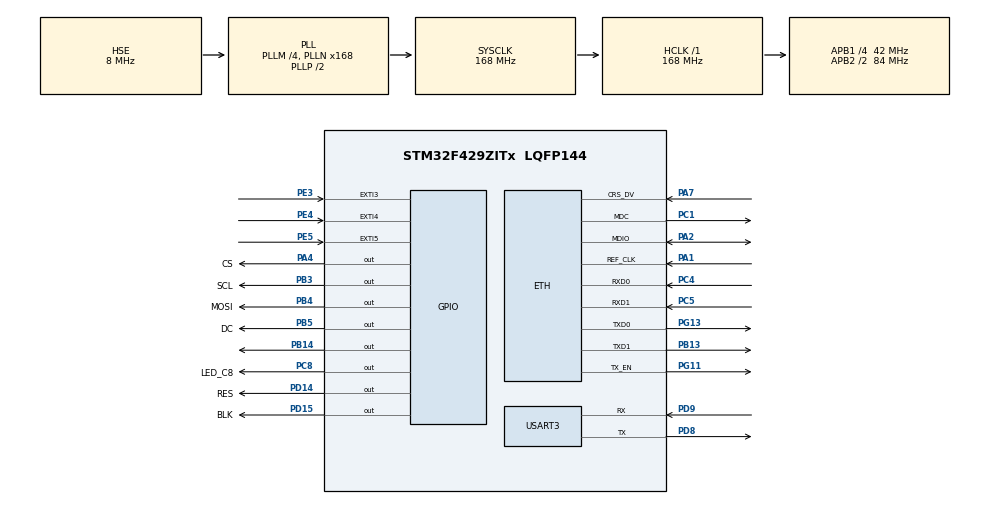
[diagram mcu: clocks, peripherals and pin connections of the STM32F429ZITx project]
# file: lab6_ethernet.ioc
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ETH.MACAddr=00\:80\:E1\:AB\:CD\:EF
ETH.MediaInterface=HAL_ETH_RMII_MODE
ETH.RxMode=ETH_RXINTERRUPT_MODE
FREERTOS.Tasks01=defaultTask,0,128,StartDefaultTask,Default,NULL,Dynamic,NULL,NULL
FREERTOS.configTOTAL_HEAP_SIZE=25360
FREERTOS.configUSE_NEWLIB_REENTRANT=0
FREERTOS.copyHeapFile=1
LWIP.BSP.number=1
LWIP.CMSIS_VERSION-Enabled=1
LWIP.GATEWAY_ADDRESS=000.000.000.000
LWIP.IP_ADDRESS=192.168.006.020
LWIP.LWIP_DHCP=0
LWIP.MEM_SIZE=10*1024
LWIP.NETMASK_ADDRESS=255.255.255.000
LWIP.Version=v2.1.2_Cube
LWIP0.BSP.STBoard=false
LWIP0.BSP.api=BSP_COMPONENT_DRIVER
LWIP0.BSP.component=LAN8742
LWIP0.BSP.instance=LAN8742
LWIP0.BSP.name=Driver_PHY
LWIP0.BSP.semaphore=S_LAN8742
LWIP0.BSP.solution=LAN8742
Mcu.Family=STM32F4
Mcu.Name=STM32F429ZITx
Mcu.Package=LQFP144
NVIC.ETH_IRQn=true\:5\:0\:false\:false\:true\:true\:false\:true\:true
NVIC.EXTI3_IRQn=true\:5\:0\:false\:false\:true\:true\:true\:true\:true
NVIC.EXTI4_IRQn=true\:5\:0\:false\:false\:true\:true\:true\:true\:true
NVIC.EXTI9_5_IRQn=true\:5\:0\:false\:false\:true\:true\:true\:true\:true
NVIC.PriorityGroup=NVIC_PRIORITYGROUP_4
NVIC.TIM1_UP_TIM10_IRQn=true\:15\:0\:false\:false\:true\:false\:false\:true\:true
NVIC.TimeBase=TIM1_UP_TIM10_IRQn
NVIC.TimeBaseIP=TIM1
PA1.Mode=RMII
PA1.Signal=ETH_REF_CLK
PA13.Mode=Serial_Wire
PA13.Signal=SYS_JTMS-SWDIO
PA14.Mode=Serial_Wire
PA14.Signal=SYS_JTCK-SWCLK
PA2.Mode=RMII
PA2.Signal=ETH_MDIO
PA4.GPIO_Label=CS
PA4.Signal=GPIO_Output
PA7.Mode=RMII
PA7.Signal=ETH_CRS_DV
PB13.Mode=RMII
PB13.Signal=ETH_TXD1
PB14.Signal=GPIO_Output
PB3.GPIO_Label=SCL
PB3.Signal=GPIO_Output
PB4.GPIO_Label=MOSI
PB4.Signal=GPIO_Output
PB5.GPIO_Label=DC
PB5.Signal=GPIO_Output
PC1.Mode=RMII
PC1.Signal=ETH_MDC
PC14/OSC32_IN.Mode=LSE-External-Oscillator
PC14/OSC32_IN.Signal=RCC_OSC32_IN
PC15/OSC32_OUT.Mode=LSE-External-Oscillator
PC15/OSC32_OUT.Signal=RCC_OSC32_OUT
PC4.Mode=RMII
PC4.Signal=ETH_RXD0
PC5.Mode=RMII
PC5.Signal=ETH_RXD1
PC8.GPIO_Label=LED_C8
PC8.Signal=GPIO_Output
PD14.GPIO_Label=RES
PD14.Signal=GPIO_Output
PD15.GPIO_Label=BLK
PD15.Signal=GPIO_Output
PD8.Mode=Asynchronous
PD8.Signal=USART3_TX
PD9.Mode=Asynchronous
PD9.Signal=USART3_RX
PE3.Signal=GPXTI3
PE4.Signal=GPXTI4
PE5.Signal=GPXTI5
PG11.Mode=RMII
PG11.Signal=ETH_TX_EN
PG13.Mode=RMII
PG13.Signal=ETH_TXD0
PH0/OSC_IN.Mode=HSE-External-Oscillator
PH0/OSC_IN.Signal=RCC_OSC_IN
PH1/OSC_OUT.Mode=HSE-External-Oscillator
PH1/OSC_OUT.Signal=RCC_OSC_OUT
ProjectManager.HeapSize=0x200
ProjectManager.StackSize=0x400
ProjectManager.TargetToolchain=MDK-ARM V5.32
RCC.48MHZClocksFreq_Value=48000000
RCC.AHBFreq_Value=168000000
RCC.APB1CLKDivider=RCC_HCLK_DIV4
RCC.APB1Freq_Value=42000000
RCC.APB1TimFreq_Value=84000000
RCC.APB2CLKDivider=RCC_HCLK_DIV2
RCC.APB2Freq_Value=84000000
RCC.APB2TimCLKDivider=2
RCC.APB2TimFreq_Value=168000000
RCC.CortexFreq_Value=168000000
RCC.HCLKFreq_Value=168000000
RCC.HSE_VALUE=8000000
RCC.HSI_VALUE=16000000
RCC.PLLM=4
RCC.PLLMUL=RCC_PLL_MUL9
RCC.PLLN=168
RCC.PLLQ=7
RCC.PLLSourceVirtual=RCC_PLLSOURCE_HSE
RCC.PRESCALERUSB=RCC_USBCLKSOURCE_PLL_DIV1_5
RCC.SYSCLKFreq_VALUE=168000000
RCC.SYSCLKSource=RCC_SYSCLKSOURCE_PLLCLK
RCC.SYSCLKSourceVirtual=RCC_SYSCLKSOURCE_PLLCLK
RCC.USBFreq_Value=48000000
RCC.VCOOutputFreq_Value=336000000
USART3.VirtualMode=VM_ASYNC
VP_FREERTOS_VS_CMSIS_V1.Mode=CMSIS_V1
VP_LWIP_VS_Enabled.Mode=Enabled
VP_SYS_VS_tim1.Mode=TIM1
board=NUCLEO-F429ZI

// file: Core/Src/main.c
/* USER CODE BEGIN Header */
/**
  ******************************************************************************
  * @file           : main.c
  * @brief          : Main program body
  ******************************************************************************
  * @attention
  *
  * Copyright (c) 2024 STMicroelectronics.
  * All rights reserved.
  *
  * This software is licensed under terms that can be found in the LICENSE file
  * in the root directory of this software component.
  * If no LICENSE file comes with this software, it is provided AS-IS.
  *
  ******************************************************************************
  */
/* USER CODE END Header */
#include "main.h"
#include "cmsis_os.h"
#include "lwip.h"
#include "usart.h"
#include "gpio.h"

/* USER CODE BEGIN Includes */

//#include "tcpclient.h"
#include "FreeRTOS.h"
#include "task.h"
#include "semphr.h"
#include "lwip/opt.h"
#include "lwip/api.h"
#include "lwip/sys.h"
#include "string.h"
#include "stdio.h"

#include "lcd.h"
#include "lcd_init.h"
#include "image.h"
#include "image_2.h"
#include "image_3.h"
/* USER CODE END Includes */

/* USER CODE BEGIN PV */

QueueHandle_t queueMode;
TaskHandle_t handleST7789;

/*********freeRTOS*********/
TaskHandle_t handleETH;
TaskHandle_t handleTCP_Init;
TaskHandle_t handleTCP_Send;
SemaphoreHandle_t xSemTCP;

/*********LWIP*********/
static struct netconn *connTCP, *newconn;
static struct netbuf *bufTCP;
static ip_addr_t addrDest;
static unsigned short port, portDest;
char msgc[100];
char smsgc[200];
int indx = 0; //send index
/* USER CODE END PV */

void SystemClock_Config(void);
void MX_FREERTOS_Init(void);
/* USER CODE BEGIN PFP */
void sendPackage(char *package);
/* USER CODE END PFP */

/* USER CODE BEGIN 0 */
/****************
!!don't remove!!
****************/
FILE __stdout;

int fputc(int c, FILE *f) {
  return (0);
}

/****************
!!don't remove!!
https://reurl.cc/Wx1YDe
****************/

void taskTCP_Init(void *pvParm){
	uint8_t button;

	err_t err, accept, recv;
	//create new connection
	connTCP = netconn_new(NETCONN_TCP);

	if(connTCP != NULL){
		err = netconn_bind(connTCP, IP_ADDR_ANY, 230);
		if(err == ERR_OK){
			//listen
			netconn_listen(connTCP);
			//handle connection
			while(1){
				//catch new connection
				accept = netconn_accept(connTCP, &newconn);
				//establish new connection success
				if(accept == ERR_OK){
					//if a client connect into server -> turn on LED_C8
					//HAL_GPIO_WritePin(LED_C8_GPIO_Port, LED_C8_Pin, 1);
					//when server receive data from client -> process buf until end of nuf
					while(netconn_recv(newconn, &bufTCP) == ERR_OK){
						do{
							strncpy(msgc, bufTCP->p->payload, bufTCP->p->len);
							if (*msgc == '0'){
								button = 0;
								xQueueSendFromISR(queueMode, &button, NULL);
							}else if (*msgc == '1'){
								button = 1;
								xQueueSendFromISR(queueMode, &button, NULL);
							}else if (*msgc == '2'){
								button = 2;
								xQueueSendFromISR(queueMode, &button, NULL);
							}
							HAL_GPIO_TogglePin(GPIOB, GPIO_PIN_14);
							memset(msgc, 0, 100);
						}while(netbuf_next(bufTCP) > 0);
						netbuf_delete(bufTCP);
					}
				}
				//if nomore client connect into server -> turn off LED_C8
				//HAL_GPIO_WritePin(LED_C8_GPIO_Port, LED_C8_Pin, 0);
				netconn_close(newconn);
				netconn_delete(newconn);
			}
		}
		//create fail -> delete connection
		else{
			netconn_delete(connTCP);
		}
	}
}

void sendPackage(char *package){
	//send package to connection
	netconn_write(connTCP, package, strlen(package), NETCONN_COPY);
	xSemaphoreGive(xSemTCP);
}

void taskTCP_Send(void *pvParm){

	/*
	int idx = 0;
	while(1){
			snprintf(smsgc, sizeof(smsgc), "%d\n", idx++);
			xSemaphoreTake(xSemTCP, 500);
			sendPackage(smsgc);
		vTaskDelay(500);
		}
	*/

}

void taskETH(void *pvParm){
	/*************
	init LwIP first
	*************/
	MX_LWIP_Init();

	xSemTCP = xSemaphoreCreateBinary();
	xTaskCreate(taskTCP_Init, "TCP init", 1024, NULL, 0, &handleTCP_Init);
	//xTaskCreate(taskTCP_Send, "TCP send", 1024, NULL, 0, &handleTCP_Send);

	while(1){
		HAL_GPIO_TogglePin(LED_C8_GPIO_Port, LED_C8_Pin);
		vTaskDelay(100);
	}
}

void taskST7789(void *pvParm){
	uint8_t button = 255;
	uint8_t update = 0;
	int idx = 0;
	uint16_t tick = 0;

	uint8_t str_student_id[] = "B11117054";
	uint8_t str_hellpigs[] = "Hell Pigs";
	uint8_t str_hellpigs_bj[] = "BJ";
	uint8_t str_hellpigs_gt[] = "Gontone";
	uint8_t str_hellpigs_sun[] = "Sun";

	LCD_Fill(0, 0, 240, 240, WHITE);
	LCD_ShowString(10, 30, str_student_id, BLACK, WHITE, 12, 1);
	LCD_ShowString(10, 60, str_student_id, BLACK, WHITE, 16, 1);
	LCD_ShowString(10, 90, str_student_id, BLACK, WHITE, 24, 1);
	LCD_ShowString(10, 120, str_student_id, BLACK, WHITE, 32, 1);

	while(1){
		vTaskDelay(1 / portTICK_RATE_MS);

		xQueueReceive(queueMode, &button, NULL);
		BaseType_t queueModeReceive = xQueueReceive(queueMode, &button, 10 / portTICK_RATE_MS);

		if(queueModeReceive == pdPASS){
			HAL_GPIO_WritePin(GPIOB, GPIO_PIN_14, 1);

			update = 1;
			tick = 0;

			if (button == 0){
				idx = 0;
				tick = 200;
			} else if (button == 1){
				idx++;
			} else if (button == 2){
				idx--;
			}
		}

		if (button == 0){
			if (--tick == 0){
				update = 1;
				idx++;
				tick = 200;
			}
		}

		if (!update){
				continue;
		}
		update = 0;

		if(idx >= 3){
			idx = 0;
		} else if (idx < 0){
			idx = 2;
		}

		switch(idx){
			case 0: {
				LCD_ShowPicture(0,0,240,240, gImage_image_2);
				LCD_ShowString(10, 180, str_hellpigs_gt, BLACK, WHITE, 24, 0);
				LCD_ShowString(10, 220, str_hellpigs, BLACK, WHITE, 16, 0);
				break;
			}
			case 1:
			{
				LCD_ShowPicture(0,0,240,240, gImage_image);
				LCD_ShowString(10, 180, str_hellpigs_bj, BLACK, WHITE, 24, 0);
				LCD_ShowString(10, 220, str_hellpigs, BLACK, WHITE, 16, 0);
				break;
			}
			case 2:{
				LCD_ShowPicture(0,0,240,240, gImage_image_3);
				LCD_ShowString(10, 180, str_hellpigs_sun, BLACK, WHITE, 24, 0);
				LCD_ShowString(10, 220, str_hellpigs, BLACK, WHITE, 16, 0);
				break;
			}
			default:
				break;
		}
	}
}

/* USER CODE END 0 */

int main(void)
{

  /* MCU Configuration--------------------------------------------------------*/

  /* Reset of all peripherals, Initializes the Flash interface and the Systick. */
  HAL_Init();

  /* Configure the system clock */
  SystemClock_Config();

  /* Initialize all configured peripherals */
  MX_GPIO_Init();
  MX_USART3_UART_Init();
  /* USER CODE BEGIN 2 */
	LCD_Init();
	LCD_CS_Clr();
	LCD_Address_Set(0,0,240,240);
	queueMode = xQueueCreate(3, sizeof(uint8_t));
	xTaskCreate(taskETH, "ETH example", 1024, NULL, 1, &handleETH);
	xTaskCreate(taskST7789, "LCD Display", 2048, NULL, 5, &handleST7789);
	vTaskStartScheduler();
  /* USER CODE END 2 */

  /* Call init function for freertos objects (in freertos.c) */
  MX_FREERTOS_Init();

  /* Start scheduler */
  osKernelStart();

  /* We should never get here as control is now taken by the scheduler */
  /* Infinite loop */
  while (1)
  {

  }
}

void SystemClock_Config(void)
{
  RCC_OscInitTypeDef RCC_OscInitStruct = {0};
  RCC_ClkInitTypeDef RCC_ClkInitStruct = {0};

  /** Configure the main internal regulator output voltage
  */
  __HAL_RCC_PWR_CLK_ENABLE();
  __HAL_PWR_VOLTAGESCALING_CONFIG(PWR_REGULATOR_VOLTAGE_SCALE1);

  /** Initializes the RCC Oscillators according to the specified parameters
  * in the RCC_OscInitTypeDef structure.
  */
  RCC_OscInitStruct.OscillatorType = RCC_OSCILLATORTYPE_HSE;
  RCC_OscInitStruct.HSEState = RCC_HSE_ON;
  RCC_OscInitStruct.PLL.PLLState = RCC_PLL_ON;
  RCC_OscInitStruct.PLL.PLLSource = RCC_PLLSOURCE_HSE;
  RCC_OscInitStruct.PLL.PLLM = 4;
  RCC_OscInitStruct.PLL.PLLN = 168;
  RCC_OscInitStruct.PLL.PLLP = RCC_PLLP_DIV2;
  RCC_OscInitStruct.PLL.PLLQ = 7;
  if (HAL_RCC_OscConfig(&RCC_OscInitStruct) != HAL_OK)
  {
    Error_Handler();
  }

  /** Initializes the CPU, AHB and APB buses clocks
  */
  RCC_ClkInitStruct.ClockType = RCC_CLOCKTYPE_HCLK|RCC_CLOCKTYPE_SYSCLK
                              |RCC_CLOCKTYPE_PCLK1|RCC_CLOCKTYPE_PCLK2;
  RCC_ClkInitStruct.SYSCLKSource = RCC_SYSCLKSOURCE_PLLCLK;
  RCC_ClkInitStruct.AHBCLKDivider = RCC_SYSCLK_DIV1;
  RCC_ClkInitStruct.APB1CLKDivider = RCC_HCLK_DIV4;
  RCC_ClkInitStruct.APB2CLKDivider = RCC_HCLK_DIV2;

  if (HAL_RCC_ClockConfig(&RCC_ClkInitStruct, FLASH_LATENCY_5) != HAL_OK)
  {
    Error_Handler();
  }
}

void HAL_TIM_PeriodElapsedCallback(TIM_HandleTypeDef *htim)
{
  if (htim->Instance == TIM1) {
    HAL_IncTick();
  }
}

void Error_Handler(void)
{
  __disable_irq();
  while (1)
  {
  }
}
